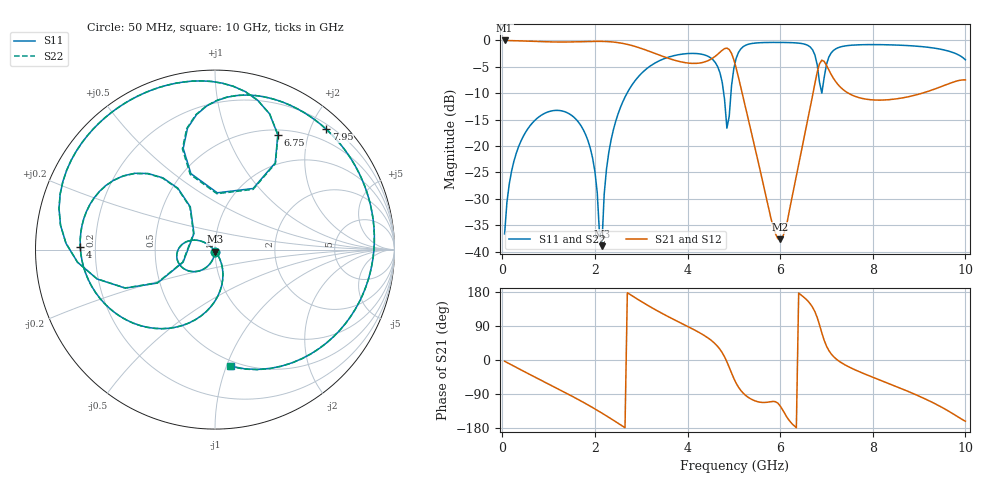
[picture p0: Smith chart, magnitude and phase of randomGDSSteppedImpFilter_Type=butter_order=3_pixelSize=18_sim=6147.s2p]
! freq	dB(S11)	phase(S11)	dB(S12)	phase(S12)
!  dB(S21)	phase(S21)	dB(S22)	phase(S22)
!S-par simulation data
#  GHz  S  DB  R 50
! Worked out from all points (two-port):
!   200 points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, 50 MHz to 10 GHz, reference 50 ohm
!   highest |S21| = 0.00 dB at 50 MHz (marker M1); lowest = -37.7 dB at 6 GHz (marker M2)
!   |S21| within 3 dB of the highest: start of sweep to 3.463 GHz; 4.598 GHz to 4.973 GHz (375.3 MHz wide, 7.84 % of centre)
!   lowest |S11| = -39.0 dB at 2.15 GHz (marker M3), VSWR 1.02, Z = 50.1 - j1.13 ohm
!   |S11| at or under -10 dB: start of sweep to 2.693 GHz; 4.781 GHz to 4.938 GHz (156.8 MHz wide, 3.23 % of centre)
!   |S22| runs from -38.9 to -0.4 dB; largest |S21 - S12| = 0
!   S11 on the Smith chart (normalised r, x): 50 MHz: 1.00, -0.03; 4 GHz: 0.14, +0.01; 6.75 GHz: 0.56, +1.54; 7.95 GHz: 0.28, +2.26; 10 GHz: 0.46, -1.04
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0.05  -36.65 -92.9  -0.00 -3.3  -0.00 -3.3  -36.65 -92.9
0.2  -24.77 -103.1  -0.04 -13.0  -0.04 -13.0  -24.77 -103.1
0.6  -16.15 -129.0  -0.16 -38.6  -0.16 -38.6  -16.15 -129.0
1.75  -16.92 158.8  -0.23 -111.6  -0.23 -111.6  -16.93 158.8
2  -24.84 144.2  -0.18 -129.0  -0.18 -129.0  -24.84 144.2
2.15  -38.97 -86.0  -0.18 -140.0  -0.18 -140.0  -38.94 -86.0
2.25  -24.37 -63.0  -0.21 -147.5  -0.21 -147.5  -24.37 -63.0
2.45  -15.29 -75.6  -0.36 -162.9  -0.36 -162.9  -15.28 -75.5
3.4  -3.81 -144.6  -2.80 126.3  -2.80 126.3  -3.81 -144.5
4  -2.49 178.8  -4.28 88.7  -4.28 88.7  -2.49 178.9
4.65  -4.96 131.4  -2.63 35.9  -2.63 35.9  -4.95 131.6
4.85  -16.61 142.5  -1.45 -4.7  -1.45 -4.7  -16.50 143.0
5.05  -3.39 -166.0  -5.23 -61.2  -5.23 -61.2  -3.38 -166.1
6  -0.38 116.6  -37.70 -121.3  -37.70 -121.3  -0.38 116.6
6.7  -1.77 68.1  -10.45 139.2  -10.45 139.2  -1.78 68.0
6.75  -2.74 61.3  -8.16 127.6  -8.16 127.6  -2.76 61.1
6.9  -9.99 87.7  -3.74 71.5  -3.74 71.5  -10.13 88.0
7  -4.57 107.4  -4.70 36.9  -4.70 36.9  -4.59 107.9
7.95  -0.79 47.3  -11.23 -43.0  -11.23 -43.0  -0.79 47.4
8.35  -0.83 28.0  -11.22 -62.4  -11.22 -62.4  -0.83 28.1
9.25  -1.36 -19.9  -9.48 -109.6  -9.48 -109.6  -1.36 -20.0
10  -3.67 -82.2  -7.48 -161.6  -7.48 -161.6  -3.67 -82.8
